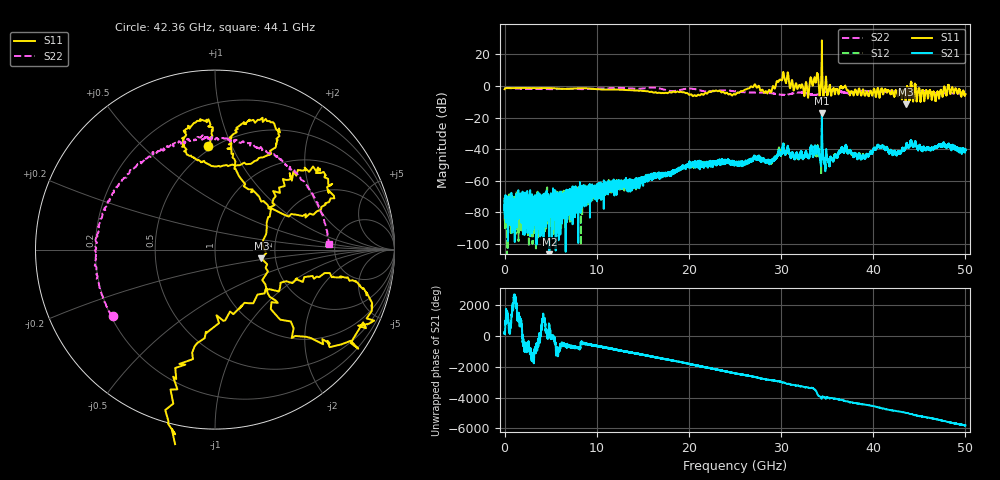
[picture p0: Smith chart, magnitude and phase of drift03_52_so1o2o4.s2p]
!Created with skrf (http://scikit-rf.org).
# Hz S RI R 50.0
!freq ReS11 ImS11 ReS21 ImS21 ReS12 ImS12 ReS22 ImS22
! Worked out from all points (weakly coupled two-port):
!   10000 points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, 5.3 MHz to 50 GHz, reference 50 ohm
!   highest |S21| = -17.30 dB at 34.43 GHz (marker M1); lowest = -116.8 dB at 4.86 GHz (marker M2)
!   lowest |S11| = -11.6 dB at 43.53 GHz (marker M3), VSWR 1.71, Z = 84.3 - j8.94 ohm
!   |S11| at or under -10 dB: 43.48906 GHz to 43.54435 GHz (55.28 MHz wide, 0.127 % of centre); 43.54753 GHz to 43.55059 GHz (3.057 MHz wide, 0.00702 % of centre); 45.12408 GHz to 45.12628 GHz (2.196 MHz wide, 0.00487 % of centre)
!   |S22| runs from -5.8 to -1.1 dB; largest |S21 - S12| = 0.028
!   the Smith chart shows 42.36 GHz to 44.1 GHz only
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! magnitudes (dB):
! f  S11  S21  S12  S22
! 5.3 MHz  -2.1  -75.4  -80.2  -1.3
! 4.86 GHz  -1.4  -116.8  -72.3  -2.1
! 8.34 GHz  -1.5  -71.1  -73.8  -2.1
! 16.67 GHz  -4.4  -57.6  -57.1  -1.5
! 20.42 GHz  -6.5  -49.3  -49.5  -1.8
! 25.01 GHz  -5.5  -48.6  -48.6  -3.5
! 27.02 GHz  -0.3  -46.0  -45.5  -4.2
! 28.72 GHz  -2.5  -47.8  -47.8  -4.5
! 30.14 GHz  4.4  -39.6  -41.2  -5.7
! 32.74 GHz  2.0  -42.1  -42.2  -4.6
! 33.34 GHz  2.6  -38.9  -40.0  -5.6
! 33.82 GHz  4.0  -42.0  -42.0  -5.7
! 34.43 GHz  28.7  -17.3  -18.6  -4.6
! 35.3 GHz  0.6  -47.5  -47.0  -3.4
! 36.85 GHz  -0.6  -41.4  -41.4  -4.3
! 38.85 GHz  -2.8  -44.6  -44.0  -3.2
! 40.58 GHz  -3.4  -38.0  -38.0  -4.0
! 41.67 GHz  -3.0  -42.1  -41.8  -3.4
! 43.53 GHz  -11.6  -38.6  -38.7  -4.1
! 46.94 GHz  -3.8  -38.7  -38.7  -4.8
! 48.32 GHz  -4.5  -37.6  -38.8  -4.5
! 50 GHz  -5.2  -40.6  -40.7  -4.5
